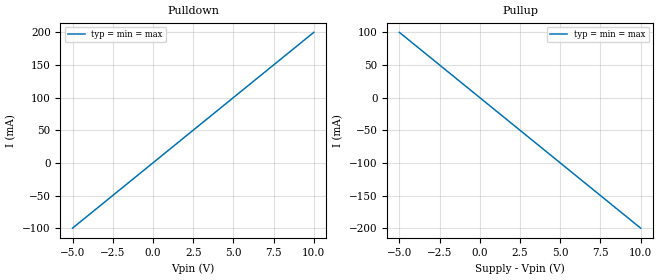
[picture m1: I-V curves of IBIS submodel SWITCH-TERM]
[IBIS Ver]   3.2
[File Name]   sterm.ibs
[File Rev]   0.3
[Date]   June 25, 1998
[Source]   Artifical Data
[Notes]   This data is a sample, only.
   This file demonstrates Bus Hold functionality to create
   an ideal active 50 ohm internal pullup and pulldown
   terminator that is switched between ground and Vcc
[Disclaimer]   This information is for modeling purposes and is not
|   guaranteed.
[Copyright]   None - public sample
|   Component SWITCHED-TERMINATOR-SAMPLE
[Component]   SWITCHED-TERMINATOR-SAMPLE
[Manufacturer]   None
[Package]
| variable   typ   min   max
R_pkg   200m   100m   300m
L_pkg   4.32nH   3.34nH   5.30nH
C_pkg   0.38pF   0.33pF   0.43pF
[Pin]  signal_name   model_name   R_pin   L_pin   C_pin
  1   Sample1   TOP_MODEL_TERM
 12   GND   GND
 24   VCC   POWER
|   Model TOP_MODEL_TERM
[Model]   TOP_MODEL_TERM
Model_type   Terminator
C_comp   0pF   0pF   0pF | Includes Submodel contribution
[Add Submodel]
| Submodel   Submodel_mode
SWITCH-TERM   All   | Could also use Non-Driving
|   typ   min   max
[Voltage Range]   5.0   4.5   5.5
| Models and submodels in the file (2): TOP_MODEL_TERM (Terminator), SWITCH-TERM (Bus_hold)
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|   Submodel SWITCH-TERM
| Example of a switched 50 ohm terminator using bus hold functionality:
[Submodel]   SWITCH-TERM
Submodel_type   Bus_hold   | Bus_hold is used for this function
| Note, Submodels do not have C_comp
[Submodel Spec]
|   Subparameter   typ   min   max
V_trigger_f   3.0   2.5   3.5  | Falling edge trigger
V_trigger_r   2.0   1.5   2.5  | Rising edge trigger
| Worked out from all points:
|   slope of the pulldown table from 0 to 0.3 V, typ, clamps not added: 50 ohm
|   slope of the pullup table from 0 to 0.3 V, typ, clamps not added: 50 ohm
|   typ   min   max
| [Voltage Range]   5.0   4.5   5.5
| Note, the actual voltage range and reference voltages are inherited from
| the top-level model.
[Pulldown]   | 50 ohm termination to ground
-5V       -100mA     -100mA     -100mA
0V        0A         0A         0A
10V       200mA      200mA      200mA
[Pullup]   | 50 ohm termination to Vcc
-5V       100mA      100mA      100mA
0V        0A         0A         0A
10V       -200mA     -200mA     -200mA
[Ramp]   | Used to switch the terminations above
|   typ   min   max
dV/dt_r   1.5/0.50n   1.35/0.75n   2.65/0.35n
dV/dt_f   1.5/0.50n   1.35/0.75n   2.65/0.35n
R_load = 50
